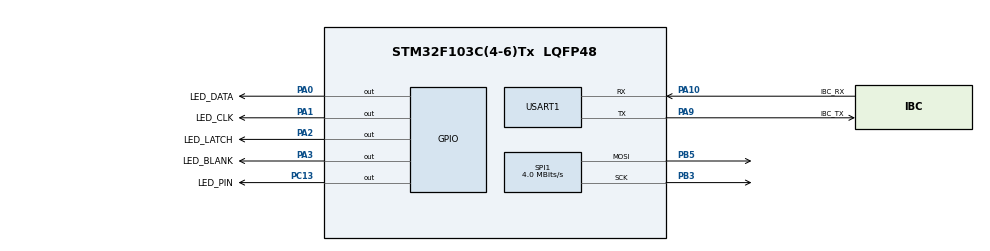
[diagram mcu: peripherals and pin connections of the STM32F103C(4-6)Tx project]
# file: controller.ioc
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Mcu.Family=STM32F1
Mcu.Name=STM32F103C(4-6)Tx
Mcu.Package=LQFP48
NVIC.PriorityGroup=NVIC_PRIORITYGROUP_4
NVIC.TIM1_UP_IRQn=true\:1\:0\:true\:false\:true\:true\:true\:true
NVIC.USART1_IRQn=true\:0\:0\:false\:true\:true\:1\:true\:false\:true
PA0-WKUP.GPIO_Label=LED_DATA
PA0-WKUP.GPIO_PuPd=GPIO_PULLDOWN
PA0-WKUP.Signal=GPIO_Output
PA1.GPIO_Label=LED_CLK
PA1.GPIO_PuPd=GPIO_PULLDOWN
PA1.Signal=GPIO_Output
PA10.GPIO_Label=IBC_RX
PA10.Mode=Asynchronous
PA10.Signal=USART1_RX
PA2.GPIO_Label=LED_LATCH
PA2.GPIO_PuPd=GPIO_PULLDOWN
PA2.Signal=GPIO_Output
PA3.GPIO_Label=LED_BLANK
PA3.GPIO_PuPd=GPIO_PULLDOWN
PA3.Signal=GPIO_Output
PA9.GPIO_Label=IBC_TX
PA9.Mode=Asynchronous
PA9.Signal=USART1_TX
PB3.Mode=TX_Only_Simplex_Unidirect_Master
PB3.Signal=SPI1_SCK
PB5.Mode=TX_Only_Simplex_Unidirect_Master
PB5.Signal=SPI1_MOSI
PC13-TAMPER-RTC.GPIO_Label=LED_PIN
PC13-TAMPER-RTC.GPIO_PuPd=GPIO_PULLUP
PC13-TAMPER-RTC.Signal=GPIO_Output
ProjectManager.HeapSize=0x200
ProjectManager.StackSize=0x400
ProjectManager.TargetToolchain=Makefile
RCC.APB1Freq_Value=8000000
RCC.APB2Freq_Value=8000000
SPI1.CalculateBaudRate=4.0 MBits/s
SPI1.Direction=SPI_DIRECTION_2LINES
SPI1.Mode=SPI_MODE_MASTER
SPI1.VirtualType=VM_MASTER
TIM1.AutoReloadPreload=TIM_AUTORELOAD_PRELOAD_ENABLE
TIM1.TIM_MasterOutputTrigger=TIM_TRGO_UPDATE
USART1.VirtualMode=VM_ASYNC
VP_SYS_VS_ND.Mode=No_Debug
VP_TIM1_VS_ClockSourceINT.Mode=Internal
board=custom

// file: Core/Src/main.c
/* USER CODE BEGIN Header */
/**
 ******************************************************************************
 * @file           : main.c
 * @brief          : Main program body
 ******************************************************************************
 * @attention
 *
 * Copyright (c) 2023 STMicroelectronics.
 * All rights reserved.
 *
 * This software is licensed under terms that can be found in the LICENSE file
 * in the root directory of this software component.
 * If no LICENSE file comes with this software, it is provided AS-IS.
 *
 ******************************************************************************
 */
/* USER CODE END Header */
#include "main.h"
#include "spi.h"
#include "tim.h"
#include "usart.h"
#include "gpio.h"

/* USER CODE BEGIN Includes */
#include "gpioObj.hpp"
#include "bufferedUart.hpp"
#include "shiftReg.hpp"
/* USER CODE END Includes */

void SystemClock_Config(void);
static void MX_NVIC_Init(void);

/* USER CODE BEGIN 0 */
extern UART_HandleTypeDef huart1;
extern UART_HandleTypeDef huart2;
BufferedUart bufUart1(&huart1);
BufferedUart bufUart2(&huart2);
/* USER CODE END 0 */

int main(void)
{

  /* MCU Configuration--------------------------------------------------------*/

  /* Reset of all peripherals, Initializes the Flash interface and the Systick. */
  HAL_Init();

  /* Configure the system clock */
  SystemClock_Config();

  /* Initialize all configured peripherals */
  MX_GPIO_Init();
  MX_SPI1_Init();
  MX_TIM1_Init();
  MX_USART1_UART_Init();

  /* Initialize interrupts */
  MX_NVIC_Init();
  /* USER CODE BEGIN 2 */
  // GPIO statusLED(LED_PIN_GPIO_Port,LED_PIN_Pin);
  // bufUart2.startListening();
  // char string[] = "hello World!";
  // bufUart2.send((uint8_t*)&string,12);

  ShiftReg shifter((uint16_t)3, LED_CLK_GPIO_Port, LED_CLK_Pin, LED_LATCH_GPIO_Port, LED_LATCH_Pin, LED_DATA_GPIO_Port, LED_DATA_Pin);

  shifter.setChipMask(0, 0x0000);
  shifter.setChipMask(1, 0x0000);
  shifter.setChipMask(2, 0x0000);
  /* USER CODE END 2 */

  /* Infinite loop */
  /* USER CODE BEGIN WHILE */
  int index = 0;
  while (1)
  {
    __disable_irq();
    shifter.asyncUpdate();
    __enable_irq();
    // HAL_Delay(1);
    for (volatile size_t i = 0; i < 1000; i++)
    {
      /* code */
    }

    if (!shifter.busy())
    {
      if (index >= 16)
      {
        index = 0;
      }
      if (index == 0)
      {
        shifter.resetBit(0, 15);
        shifter.resetBit(1, 15);
        shifter.resetBit(2, 15);
      }
      else
      {
        shifter.resetBit(0, index - 1);
        shifter.resetBit(1, index - 1);
        shifter.resetBit(2, index - 1);
      }
      shifter.setBit(0, index);
      shifter.setBit(1, index);
      shifter.setBit(2, index);
      index++;
    }
    /* USER CODE END WHILE */

  }
}

void SystemClock_Config(void)
{
  RCC_OscInitTypeDef RCC_OscInitStruct = {0};
  RCC_ClkInitTypeDef RCC_ClkInitStruct = {0};

  /** Initializes the RCC Oscillators according to the specified parameters
  * in the RCC_OscInitTypeDef structure.
  */
  RCC_OscInitStruct.OscillatorType = RCC_OSCILLATORTYPE_HSI;
  RCC_OscInitStruct.HSIState = RCC_HSI_ON;
  RCC_OscInitStruct.HSICalibrationValue = RCC_HSICALIBRATION_DEFAULT;
  RCC_OscInitStruct.PLL.PLLState = RCC_PLL_NONE;
  if (HAL_RCC_OscConfig(&RCC_OscInitStruct) != HAL_OK)
  {
    Error_Handler();
  }

  /** Initializes the CPU, AHB and APB buses clocks
  */
  RCC_ClkInitStruct.ClockType = RCC_CLOCKTYPE_HCLK|RCC_CLOCKTYPE_SYSCLK
                              |RCC_CLOCKTYPE_PCLK1|RCC_CLOCKTYPE_PCLK2;
  RCC_ClkInitStruct.SYSCLKSource = RCC_SYSCLKSOURCE_HSI;
  RCC_ClkInitStruct.AHBCLKDivider = RCC_SYSCLK_DIV1;
  RCC_ClkInitStruct.APB1CLKDivider = RCC_HCLK_DIV1;
  RCC_ClkInitStruct.APB2CLKDivider = RCC_HCLK_DIV1;

  if (HAL_RCC_ClockConfig(&RCC_ClkInitStruct, FLASH_LATENCY_0) != HAL_OK)
  {
    Error_Handler();
  }
}

/**
  * @brief NVIC Configuration.
  * @retval None
  */
static void MX_NVIC_Init(void)
{
  /* USART1_IRQn interrupt configuration */
  HAL_NVIC_SetPriority(USART1_IRQn, 0, 0);
  HAL_NVIC_EnableIRQ(USART1_IRQn);
}

void Error_Handler(void)
{
  __disable_irq();
  while (1)
  {
  }
}
